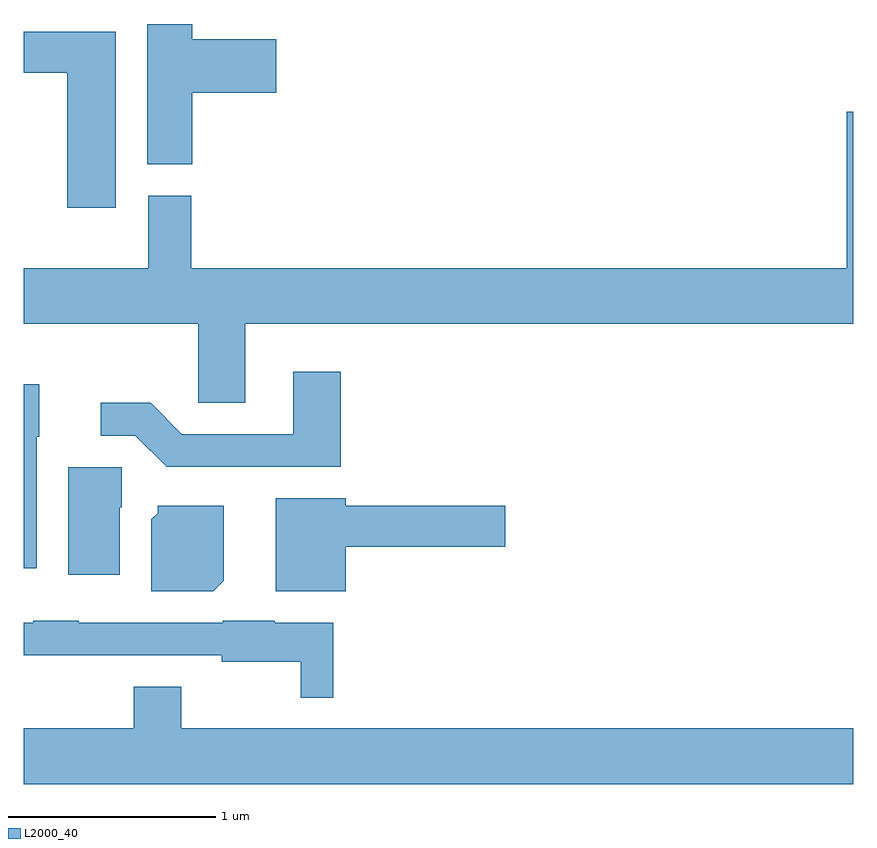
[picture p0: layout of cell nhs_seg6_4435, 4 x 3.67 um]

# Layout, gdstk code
import gdstk
lib = gdstk.Library(unit=1e-6, precision=1e-09)
def P(c, l, *ps):  # polygons
    for p in ps: c.add(gdstk.Polygon(p, *l))
L2000_40 = (2000, 40)

nhs_seg6_4435 = lib.new_cell('nhs_seg6_4435')
P(nhs_seg6_4435, L2000_40, [(322.424,1537.831),(322.829,1537.831),(322.829,1538.089),(322.424,1538.089),(322.424,1538.162),(322.206,1538.162),(322.206,1537.486),(322.424,1537.486)],
  [(322.054,1538.124),(321.611,1538.124),(321.611,1537.926),(321.821,1537.926),(321.821,1537.276),(322.054,1537.276)],
  [(322.679,1536.716),(325.611,1536.716),(325.611,1537.739),(325.581,1537.739),(325.581,1536.984),(322.419,1536.984),(322.419,1537.334),(322.211,1537.334),(322.211,1536.984),(321.611,1536.984),(321.611,1536.716),(322.451,1536.716),(322.451,1536.336),(322.679,1536.336)],
  [(323.139,1536.484),(322.911,1536.484),(322.911,1536.184),(322.372,1536.184),(322.222,1536.334),(321.983,1536.334),(321.983,1536.176),(322.149,1536.176),(322.299,1536.026),(323.139,1536.026)],
  [(321.674,1536.17),(321.684,1536.17),(321.684,1536.424),(321.611,1536.424),(321.611,1535.536),(321.674,1535.536)],
  [(322.074,1535.83),(322.084,1535.83),(322.084,1536.024),(321.826,1536.024),(321.826,1535.506),(322.074,1535.506)],
  [(323.164,1535.641),(323.934,1535.641),(323.934,1535.839),(323.164,1535.839),(323.164,1535.874),(322.826,1535.874),(322.826,1535.426),(323.164,1535.426)],
  [(322.574,1535.477),(322.574,1535.839),(322.256,1535.839),(322.256,1535.802),(322.226,1535.772),(322.226,1535.426),(322.524,1535.426)],
  [(323.104,1535.274),(322.82,1535.274),(322.82,1535.284),(322.57,1535.284),(322.57,1535.274),(321.875,1535.274),(321.875,1535.284),(321.655,1535.284),(321.655,1535.274),(321.611,1535.274),(321.611,1535.116),(322.566,1535.116),(322.566,1535.086),(322.946,1535.086),(322.946,1534.913),(323.104,1534.913)],
  [(325.611,1534.764),(322.369,1534.764),(322.369,1534.964),(322.141,1534.964),(322.141,1534.764),(321.611,1534.764),(321.611,1534.496),(325.611,1534.496)])

lib.write_gds('nhs_seg6_4435.gds')
